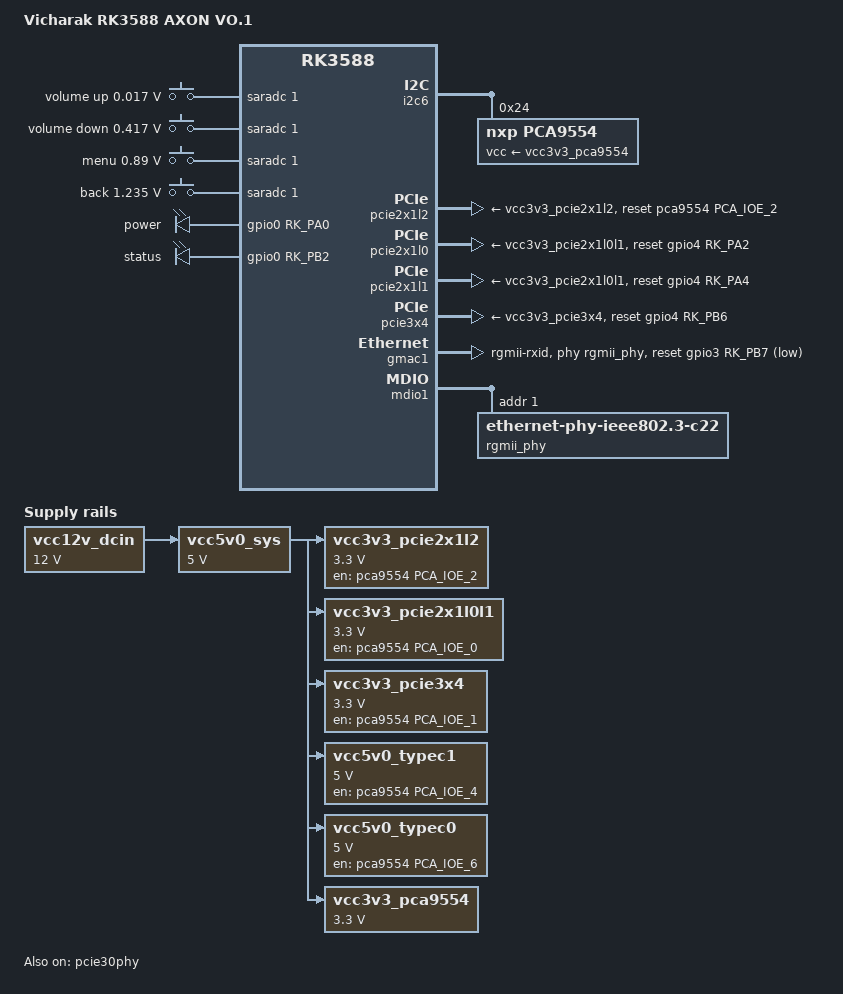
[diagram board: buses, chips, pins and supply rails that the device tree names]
// SPDX-License-Identifier: (GPL-2.0+ OR MIT)
/*
 * Copyright (c) 2023 Vicharak India
 *
 */

/dts-v1/;
#include "rk3588.dtsi"
#include "rk3588-u-boot.dtsi"
#include <dt-bindings/input/input.h>

/ {
	model = "Vicharak RK3588 AXON VO.1";
	compatible = "vicharak,rk3588-axon", "rockchip,rk3588";

	// ADC Keys: {{{
	adc-keys {
		u-boot,dm-pre-reloc;
		compatible = "adc-keys";
		io-channels = <&saradc 1>;
		io-channel-names = "buttons";
		keyup-threshold-microvolt = <1800000>;
		status = "okay";

		vol-up-key {
			u-boot,dm-pre-reloc;
			label = "volume up";
			linux,code = <KEY_VOLUMEUP>;
			press-threshold-microvolt = <17000>;
		};

		vol-down-key {
			u-boot,dm-pre-reloc;
			label = "volume down";
			linux,code = <KEY_VOLUMEDOWN>;
			press-threshold-microvolt = <417000>;
		};

		menu-key {
			u-boot,dm-pre-reloc;
			label = "menu";
			linux,code = <KEY_MENU>;
			press-threshold-microvolt = <890000>;
		};

		back-key {
			u-boot,dm-pre-reloc;
			label = "back";
			linux,code = <KEY_BACK>;
			press-threshold-microvolt = <1235000>;
		};
	};
	// End of ADC Keys }}}

	// Regulators: {{{
	vcc12v_dcin: vcc12v-dcin {
		u-boot,dm-pre-reloc;
		compatible = "regulator-fixed";
		regulator-name = "vcc12v_dcin";
		regulator-always-on;
		regulator-boot-on;
		regulator-min-microvolt = <12000000>;
		regulator-max-microvolt = <12000000>;
	};

	vcc5v0_sys: vcc5v0-sys {
		u-boot,dm-pre-reloc;
		compatible = "regulator-fixed";
		regulator-name = "vcc5v0_sys";
		regulator-always-on;
		regulator-boot-on;
		regulator-min-microvolt = <5000000>;
		regulator-max-microvolt = <5000000>;
		vin-supply = <&vcc12v_dcin>;
	};

	vcc3v3_pcie2x1l2: vcc3v3-pcie2x1l2 {
		u-boot,dm-pre-reloc;
		compatible = "regulator-fixed";
		regulator-name = "vcc3v3_pcie2x1l2";
		regulator-min-microvolt = <3300000>;
		regulator-max-microvolt = <3300000>;
		startup-delay-us = <5000>;
		regulator-boot-on;
		regulator-always-on;
		enable-active-high;
		gpio = <&pca9554 PCA_IOE_2 GPIO_ACTIVE_HIGH>;
		vin-supply = <&vcc5v0_sys>;
	};

	vcc3v3_pcie2x1l0l1: vcc3v3-pcie2x1l0 {
		u-boot,dm-pre-reloc;
		compatible = "regulator-fixed";
		regulator-name = "vcc3v3_pcie2x1l0l1";
		regulator-min-microvolt = <3300000>;
		regulator-max-microvolt = <3300000>;
		startup-delay-us = <5000>;
		regulator-boot-on;
		regulator-always-on;
		enable-active-high;
		gpio = <&pca9554 PCA_IOE_0 GPIO_ACTIVE_HIGH>;
		vin-supply = <&vcc5v0_sys>;
	};

	vcc3v3_pcie3x4: vcc3v3-pcie3x4 {
		u-boot,dm-pre-reloc;
		compatible = "regulator-fixed";
		regulator-name = "vcc3v3_pcie3x4";
		regulator-min-microvolt = <3300000>;
		regulator-max-microvolt = <3300000>;
		regulator-boot-on;
		regulator-always-on;
		enable-active-high;
		gpio = <&pca9554 PCA_IOE_1 GPIO_ACTIVE_HIGH>;
		startup-delay-us = <5000>;
		vin-supply = <&vcc5v0_sys>;
	};

	vcc5v0_typec1: vcc5v0-typec1-regulator {
		u-boot,dm-pre-reloc;
		compatible = "regulator-fixed";
		regulator-name = "vcc5v0_typec1";
		regulator-min-microvolt = <5000000>;
		regulator-max-microvolt = <5000000>;
		enable-active-high;
		gpio = <&pca9554 PCA_IOE_4 GPIO_ACTIVE_HIGH>;
		vin-supply = <&vcc5v0_sys>;
	};

	vcc5v0_typec0: vcc5v0-typec0-regulator {
		u-boot,dm-pre-reloc;
		compatible = "regulator-fixed";
		regulator-name = "vcc5v0_typec0";
		regulator-min-microvolt = <5000000>;
		regulator-max-microvolt = <5000000>;
		enable-active-high;
		gpio = <&pca9554 PCA_IOE_6 GPIO_ACTIVE_HIGH>;
		vin-supply = <&vcc5v0_sys>;
	};

	vcc3v3_pca9554: vcc3v3-pca9554 {
		u-boot,dm-pre-reloc;
		compatible = "regulator-fixed";
		regulator-name = "vcc3v3_pca9554";
		regulator-min-microvolt = <3300000>;
		regulator-max-microvolt = <3300000>;
		regulator-boot-on;
		regulator-always-on;
		enable-active-high;
		vin-supply = <&vcc5v0_sys>;
	};
	// End of Regulators }}}

	// Leds: {{{
	gpio_leds: gpio-leds {
		u-boot,dm-pre-reloc;
		compatible = "gpio-leds";
		status = "okay";
		pinctrl-names = "default";
		pinctrl-0 = <&power_led_gpio &status_led_gpio>;

		power_led: power-led {
			u-boot,dm-pre-reloc;
			label = "power";
			gpios = <&gpio0 RK_PA0 GPIO_ACTIVE_HIGH>;
			default-state = "on";
			retain-state-suspend;
			linux,default-trigger = "default-on";
		};

		status_led: status-led {
			u-boot,dm-pre-reloc;
			label = "status";
			gpios = <&gpio0 RK_PB2 GPIO_ACTIVE_HIGH>;
			default-state = "on";
			retain-state-suspend;
			linux,default-trigger = "heartbeat";
		};
	};
	// End of Leds }}}
};

// I2C6: {{{
&i2c6 {
	u-boot,dm-pre-reloc;
	status = "okay";

	// PCA9554 GPIO Expander
	pca9554: gpio@24 {
		u-boot,dm-pre-reloc;
		compatible = "nxp,pca9554";
		reg = <0x24>;
		vcc-supply = <&vcc3v3_pca9554>;
		gpio-controller;
		#gpio-cells = <2>;
		gpio-group-num = <300>;
		status = "okay";
	};
};
// End of I2C6 }}}

// PCIE: {{{
// fe190000: Standard SATA only (PCIE20_0)
&pcie2x1l2 {
	u-boot,dm-pre-reloc;
	reset-gpios = <&pca9554 PCA_IOE_2 GPIO_ACTIVE_HIGH>;
	vpcie3v3-supply = <&vcc3v3_pcie2x1l2>;
	status = "okay";
};

// fe170000: (PCIE20_2)
&pcie2x1l0 {
	u-boot,dm-pre-reloc;
	reset-gpios = <&gpio4 RK_PA2 GPIO_ACTIVE_HIGH>;
	vpcie3v3-supply = <&vcc3v3_pcie2x1l0l1>;
	status = "okay";
};

// fe180000: (PCIE20_1) Tested sata2
&pcie2x1l1 {
	u-boot,dm-pre-reloc;
	reset-gpios = <&gpio4 RK_PA4 GPIO_ACTIVE_HIGH>;
	vpcie3v3-supply = <&vcc3v3_pcie2x1l0l1>;
	status = "okay";
};

// PCIE 3.0 - 4 slots: {{{
&pcie30phy {
	u-boot,dm-pre-reloc;
	status = "okay";
};

// fe150000: PCIE 3.0
&pcie3x4 {
	u-boot,dm-pre-reloc;
	reset-gpios = <&gpio4 RK_PB6 GPIO_ACTIVE_HIGH>;
	vpcie3v3-supply = <&vcc3v3_pcie3x4>;
	status = "okay";
};
// End of PCIE 3.0 - 4 slots }}}
// End of PCIE }}}

// ethernet@fe1c0000 : GMAC1 {{{
&gmac1 {
       clock_in_out = "output";
       phy-handle = <&rgmii_phy>;
       phy-mode = "rgmii-rxid";
       // phy-supply = <&vcc_3v3_s3>;
       pinctrl-0 = <&gmac1_rgmii_bus
                               &gmac1_rgmii_clk
                               &gmac1_rx_bus2
                               &gmac1_tx_bus2
                               &gmac1_miim>;
       pinctrl-names = "default";
       snps,reset-active-low;
       snps,reset-delays-us = <0 20000 100000>;
       snps,reset-gpio = <&gpio3 RK_PB7 GPIO_ACTIVE_LOW>;
       rx_delay = <0x00>;
       tx_delay = <0x43>;
       status = "okay";
};
// End of ethernet@fe1c0000 : GMAC1 }}}

&mdio1 {
       rgmii_phy: phy@1 {
               compatible = "ethernet-phy-ieee802.3-c22";
               reg = <0x1>;
       };
};

// Pinctrl: {{{
&pinctrl {
	// Leds: {{{
	leds {
		power_led_gpio: power-led-gpio {
			rockchip,pins =
						<0 RK_PA0 RK_FUNC_GPIO &pcfg_pull_none>;
		};

		status_led_gpio: status-led-gpio {
			rockchip,pins =
						<0 RK_PB2 RK_FUNC_GPIO &pcfg_pull_none>;
		};
	};
	// End of Leds }}}
};
// End of Pinctrl }}}

// SPI (Disabled): {{{
&sfc {
	status = "disabled";
};
// End of SPI }}}
